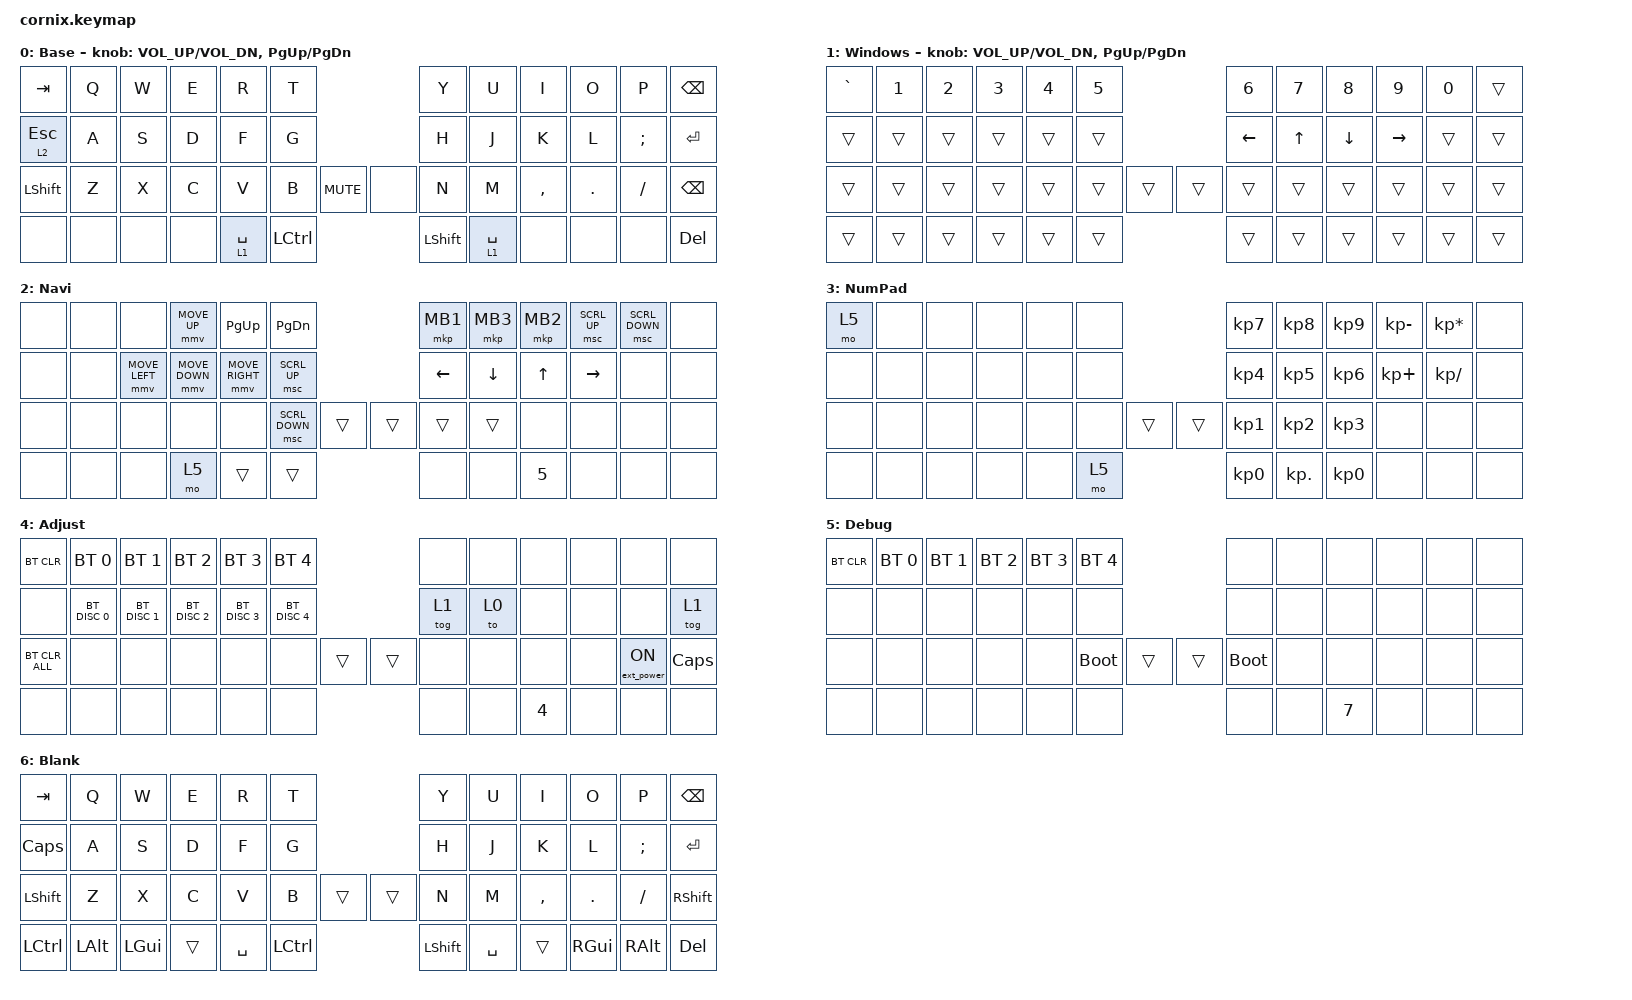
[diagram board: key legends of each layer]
/*
 * Copyright (c) 2020 The ZMK Contributors
 *
 * SPDX-License-Identifier: MIT
 */

#include "zmk-helpers/helper.h"
#include "includes/cornix54.h"

// tap windows for ctl alt and gui

#define HM_TAPPING_TERM 250
#define HM_TAPPING_REPEAT 210

// quick tapping for shift

#define HM_TAPPING_TERM_FAST 200
#define HM_PRIOR_IDLE 70
#define BASE 0
#define WIN 1
#define LOWER 2
#define RAISE 3
#define ADJUST 4
#define NAVI   5
#define NUM    6
#define DEBUG  7

// https://github.com/urob/zmk-config/tree/main#timeless-homerow-mods

#define KEYS_L LT0 LT1 LT2 LT3 LT4 LT5 LM0 LM1 LM2 LM3 LM4 LM5 LB0 LB1 LB2 LB3 LB4 LB5  // left hand
#define KEYS_R RT0 RT1 RT2 RT3 RT4 RT5 RM0 RM1 RM2 RM3 RM4 RM5 RB0 RB1 RB2 RB3 RB4 RB5  // right hand
#define THUMBS LH1 LH0 RH0 RH1
#define KEYS_T LH1 LH0 RH0 RH1
#define ZMK_POINTING_DEFAULT_SCRL_VAL 15

#include <behaviors.dtsi>
#include <dt-bindings/zmk/bt.h>
#include <dt-bindings/zmk/ext_power.h>
#include <dt-bindings/zmk/keys.h>
#include <dt-bindings/zmk/pointing.h>

/ {
    // Activate ADJUST layer by pressing raise and lower

    behaviors {
        // Positional Homerow mods for shift
        // Use faster tapping term and disable some features that may
        // cause false negatives.
        /*
         * Non-Positional Homerow Mods
         * Used for &mm_grescm_gui behavior on left hand.
         *
         * Usage: &hm LSHFT T
         * Tap: T
         * Tap-Tap-Hold: Repeat T
         * Hold: LSHIFT
         */

        lt: layer_tap {
            compatible = "zmk,behavior-hold-tap";
            #binding-cells = <2>;
            bindings = <&mo>, <&kp>;

            flavor = "tap-unless-interrupted";
            tapping-term-ms = <100>;
            quick-tap-ms = <200>;
            hold-while-undecided;
        };

        cap2esc: cap2esc {
            compatible = "zmk,behavior-hold-tap";
            label = "CAP2ESC";
            bindings = <&none>, <&none>;

            #binding-cells = <2>;
            tapping-term-ms = <100>;
            flavor = "tap-unless-interrupted";
            hold-trigger-key-positions = <12>;
        };
    };

    conditional_layers { compatible = "zmk,conditional-layers"; };

    combos {
        compatible = "zmk,combos";

        default2blank {
            bindings = <&to 6>;
            key-positions = <41 46>;
            layers = <0>;
        };

        blank2default {
            bindings = <&to 0>;
            key-positions = <46 41>;
            layers = <6>;
        };
    };

    keymap {
        compatible = "zmk,keymap";

        default_layer {
            display-name = "Base";

            // ------------------------------------------------------------------------------------------------------------
            // |   `   |  1  |  2  |  3   |  4   |  5   |                   |  6   |  7    |  8    |  9   |   0   |       |
            // |  ESC  |  Q  |  W  |  E   |  R   |  T   |                   |  Y   |  U    |  I    |  O   |   P   | BKSPC |
            // |  TAB  |  A  |  S  |  D   |  F   |  G   |                   |  H   |  J    |  K    |  L   |   ;   |   '   |
            // | SHIFT |  Z  |  X  |  C   |  V   |  B   |  MUTE  |  |       |  N   |  M    |  ,    |  .   |   /   | SHIFT |
            //               | GUI | ALT  | CTRL | LOWER|  ENTER |  | SPACE | RAISE| CTRL  | ALT   | GUI  |

            bindings = <
&kp TAB         &kp Q  &kp W  &kp E  &kp R        &kp T                         &kp Y           &kp U        &kp I      &kp O    &kp P     &kp BACKSPACE
&lt 2 ESCAPE    &kp A  &kp S  &kp D  &kp F        &kp G                         &kp H           &kp J        &kp K      &kp L    &kp SEMI  &kp ENTER
&kp LEFT_SHIFT  &kp Z  &kp X  &kp C  &kp V        &kp B      &kp K_MUTE  &none  &kp N           &kp M        &kp COMMA  &kp DOT  &kp FSLH  &kp BACKSPACE
&none           &none  &none  &none  &lt 1 SPACE  &kp LCTRL                     &kp LEFT_SHIFT  &lt 1 SPACE  &none      &none    &none     &kp DELETE
            >;

            sensor-bindings = <&inc_dec_kp C_VOL_UP C_VOL_DN &inc_dec_kp PG_UP PG_DN>;
        };

        num_layer {
            display-name = "Windows";

            // ------------------------------------------------------------------------------------------------------------
            // |   `   |  1  |  2  |  3   |  4   |  5   |                   |  6   |  7    |  8    |  9   |   0   |       |
            // |  ESC  |  Q  |  W  |  E   |  R   |  T   |                   |  Y   |  U    |  I    |  O   |   P   | BKSPC |
            // |  TAB  |  A  |  S  |  D   |  F   |  G   |                   |  H   |  J    |  K    |  L   |   ;   |   '   |
            // | SHIFT |  Z  |  X  |  C   |  V   |  B   |  MUTE  |  |       |  N   |  M    |  ,    |  .   |   /   | SHIFT |
            //               | GUI | ALT  | CTRL | LOWER|  ENTER |  | SPACE | RAISE| CTRL  | ALT   | GUI  |

            bindings = <
&kp GRAVE  &kp N1  &kp N2  &kp N3  &kp N4  &kp N5                  &kp N6          &kp N7        &kp N8          &kp N9           &kp N0  &trans
&trans     &trans  &trans  &trans  &trans  &trans                  &kp LEFT_ARROW  &kp UP_ARROW  &kp DOWN_ARROW  &kp RIGHT_ARROW  &trans  &trans
&trans     &trans  &trans  &trans  &trans  &trans  &trans  &trans  &trans          &trans        &trans          &trans           &trans  &trans
&trans     &trans  &trans  &trans  &trans  &trans                  &trans          &trans        &trans          &trans           &trans  &trans
            >;

            sensor-bindings = <&inc_dec_kp C_VOL_UP C_VOL_DN &inc_dec_kp PG_UP PG_DN>;
        };

        Navi_layer {
            display-name = "Navi";
            bindings = <
&none  &none  &none           &mmv MOVE_UP    &kp PAGE_UP      &kp PAGE_DOWN                   &mkp MB1  &mkp MB3  &mkp MB2  &msc SCRL_UP  &msc SCRL_DOWN  &none
&none  &none  &mmv MOVE_LEFT  &mmv MOVE_DOWN  &mmv MOVE_RIGHT  &msc SCRL_UP                    &kp LEFT  &kp DOWN  &kp UP    &kp RIGHT     &none           &none
&none  &none  &none           &none           &none            &msc SCRL_DOWN  &trans  &trans  &trans    &trans    &none     &none         &none           &none
&none  &none  &none           &mo 5           &trans           &trans                          &none     &none     &kp N5    &none         &none           &none
            >;
        };

        KeyPad_layer {
            display-name = "NumPad";
            bindings = <
&mo 5  &none  &none  &none  &none  &none                  &kp KP_N7        &kp KP_N8        &kp KP_N9        &kp KP_MINUS  &kp KP_MULTIPLY  &none
&none  &none  &none  &none  &none  &none                  &kp KP_NUMBER_4  &kp KP_NUMBER_5  &kp KP_N6        &kp KP_PLUS   &kp KP_DIVIDE    &none
&none  &none  &none  &none  &none  &none  &trans  &trans  &kp KP_NUMBER_1  &kp KP_NUMBER_2  &kp KP_N3        &none         &none            &none
&none  &none  &none  &none  &none  &mo 5                  &kp KP_N0        &kp KP_DOT       &kp KP_NUMBER_0  &none         &none            &none
            >;
        };

        Adjust_layer {
            display-name = "Adjust";

            // ----------------------------------------------------------------------------------------------------------------------------
            // | BTCLR  |  BT1    |  BT2    |   BT3   |   BT4   |   BT5   |                  |      |      |       |      |       |       |
            // | moDEBUG| RGB_HUD | RGB_HUI | RGB_SAD | RGB_SAI | RGB_EFF |                  |      |      |       |      |       |       |
            // | EXTPWR | RGB_BRD | RGB_BRI |         |         |         |                  |      |      |       |      |       |       |
            // |        |         |         |         |         |         | RGB_TOG | |      |      |      |       |      |       |       |
            //                    |         |         |         |         |         | |      |      |      |       |      |

            bindings = <
&bt BT_CLR      &bt BT_SEL 0   &bt BT_SEL 1   &bt BT_SEL 2   &bt BT_SEL 3   &bt BT_SEL 4                   &none   &none  &none   &none  &none             &none
&none           &bt BT_DISC 0  &bt BT_DISC 1  &bt BT_DISC 2  &bt BT_DISC 3  &bt BT_DISC 4                  &tog 1  &to 0  &none   &none  &none             &tog 1
&bt BT_CLR_ALL  &none          &none          &none          &none          &none          &trans  &trans  &none   &none  &none   &none  &ext_power EP_ON  &kp CAPSLOCK
&none           &none          &none          &none          &none          &none                          &none   &none  &kp N4  &none  &none             &none
            >;
        };

        Debug_layer {
            display-name = "Debug";

            // ----------------------------------------------------------------------------------------------------------------------------
            // | BTCLR  |  BT1    |  BT2    |   BT3   |   BT4   |   BT5   |                  |      |      |       |      |       |       |
            // | EXTPWR | BTCLR | RGB_HUI | RGB_SAD | RGB_SAI | RGB_EFF |                  |      |      |       |      |       |       |
            // |        | RGB_BRD | RGB_BRI |         |         |         |                  |      |      |       |      |       |       |
            // |        |         |         |         |         |         | RGB_TOG | |      |      |      |       |      |       |       |
            //                    |         |         |         |         |         | |      |      |      |       |      |

            bindings = <
&bt BT_CLR  &bt BT_SEL 0  &bt BT_SEL 1  &bt BT_SEL 2  &bt BT_SEL 3  &bt BT_SEL 4                  &none        &none  &none   &none  &none  &none
&none       &none         &none         &none         &none         &none                         &none        &none  &none   &none  &none  &none
&none       &none         &none         &none         &none         &bootloader   &trans  &trans  &bootloader  &none  &none   &none  &none  &none
&none       &none         &none         &none         &none         &none                         &none        &none  &kp N7  &none  &none  &none
            >;
        };

        BLANK_LQYER {
            bindings = <
&kp TAB    &kp Q     &kp W     &kp E   &kp R      &kp T                      &kp Y      &kp U      &kp I      &kp O     &kp P     &kp BSPC
&kp CAPS   &kp A     &kp S     &kp D   &kp F      &kp G                      &kp H      &kp J      &kp K      &kp L     &kp SEMI  &kp ENTER
&kp LSHFT  &kp Z     &kp X     &kp C   &kp V      &kp B      &trans  &trans  &kp N      &kp M      &kp COMMA  &kp DOT   &kp FSLH  &kp RSHFT
&kp LCTRL  &kp LALT  &kp LGUI  &trans  &kp SPACE  &kp LCTRL                  &kp LSHFT  &kp SPACE  &trans     &kp RGUI  &kp RALT  &kp DELETE
            >;

            label = "Blank";
        };
    };
};
